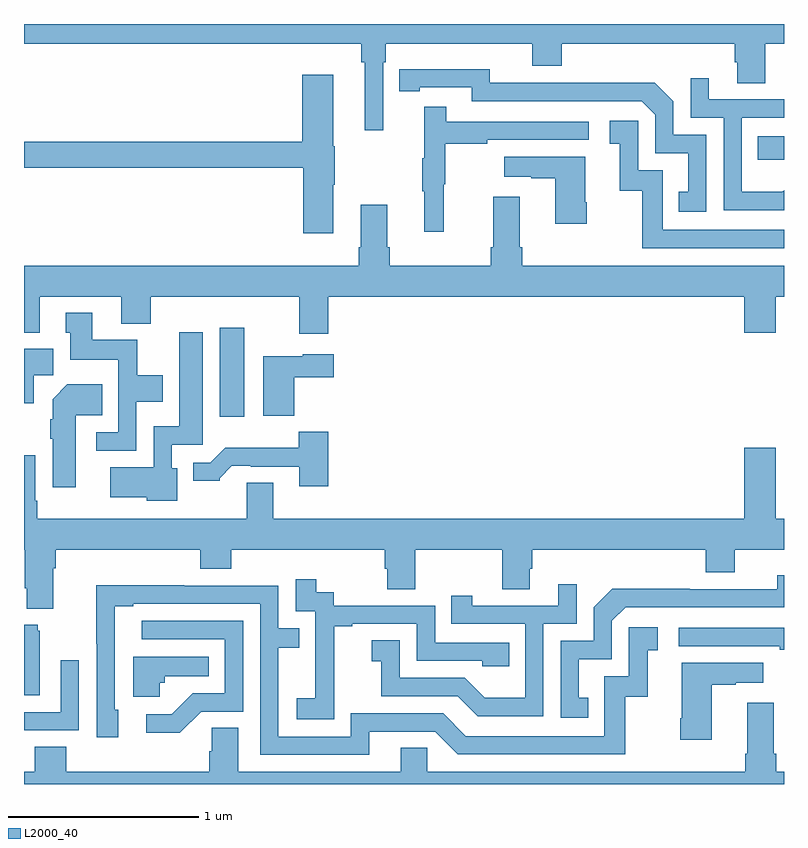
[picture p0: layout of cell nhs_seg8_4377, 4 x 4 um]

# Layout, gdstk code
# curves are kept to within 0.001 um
import gdstk
lib = gdstk.Library(unit=1e-6, precision=1e-09)
def R(c, l, rs):  # rectangles x0, y0, x1, y1
    for r in rs: c.add(gdstk.rectangle(r[:2], r[2:], *l))
def P(c, l, *ps):  # polygons
    for p in ps: c.add(gdstk.Polygon(p, *l))
L2000_40 = (2000, 40)

nhs_seg8_4377 = lib.new_cell('nhs_seg8_4377')
R(nhs_seg8_4377, L2000_40, [(378.029,1151.832,378.16,1152.301), (380.863,1153.185,381,1153.308)])
P(nhs_seg8_4377, L2000_40, [(378.891,1153.7),(378.905,1153.7),(378.905,1153.796),(379.676,1153.796),(379.676,1153.679),(379.829,1153.679),(379.829,1153.796),(380.741,1153.796),(380.741,1153.698),(380.753,1153.698),(380.753,1153.588),(380.901,1153.588),(380.901,1153.796),(381,1153.796),(381,1153.9),(377,1153.9),(377,1153.796),(378.775,1153.796),(378.775,1153.7),(378.794,1153.7),(378.794,1153.341),(378.891,1153.341)],
  [(380.592,1153.317),(380.418,1153.317),(380.418,1153.494),(380.32,1153.592),(379.912,1153.592),(379.912,1153.59),(379.452,1153.59),(379.452,1153.663),(378.976,1153.662),(378.976,1153.546),(379.084,1153.546),(379.084,1153.566),(379.356,1153.566),(379.356,1153.494),(380.25,1153.494),(380.322,1153.422),(380.322,1153.221),(380.495,1153.221),(380.495,1153.017),(380.446,1153.017),(380.446,1152.912),(380.592,1152.912)],
  [(378.628,1153.055),(378.636,1153.055),(378.636,1153.257),(378.628,1153.257),(378.628,1153.633),(378.464,1153.633),(378.464,1153.28),(377,1153.28),(377,1153.144),(378.47,1153.144),(378.47,1152.798),(378.628,1152.798)],
  [(381,1153.026),(380.992,1153.018),(380.778,1153.018),(380.778,1153.407),(381,1153.407),(381,1153.503),(380.605,1153.503),(380.605,1153.615),(380.508,1153.615),(380.508,1153.407),(380.682,1153.407),(380.682,1152.921),(381,1152.921)],
  [(379.208,1153.056),(379.216,1153.056),(379.216,1153.27),(379.439,1153.27),(379.439,1153.29),(379.972,1153.29),(379.972,1153.386),(379.223,1153.386),(379.223,1153.465),(379.106,1153.465),(379.106,1153.193),(379.095,1153.193),(379.095,1153.019),(379.106,1153.019),(379.106,1152.807),(379.208,1152.807)],
  [(381,1152.816),(380.361,1152.816),(380.361,1153.131),(380.232,1153.131),(380.232,1153.39),(380.082,1153.39),(380.082,1153.269),(380.135,1153.269),(380.135,1153.023),(380.253,1153.023),(380.253,1152.72),(381,1152.72)],
  [(379.962,1152.961),(379.954,1152.961),(379.954,1153.201),(379.527,1153.201),(379.527,1153.097),(379.67,1153.097),(379.67,1153.087),(379.796,1153.087),(379.796,1152.849),(379.962,1152.849)],
  [(378.602,1152.464),(380.792,1152.464),(380.792,1152.276),(380.956,1152.276),(380.956,1152.464),(381,1152.464),(381,1152.628),(379.622,1152.628),(379.622,1152.724),(379.609,1152.724),(379.609,1152.991),(379.469,1152.991),(379.469,1152.724),(379.457,1152.724),(379.457,1152.628),(378.926,1152.628),(378.926,1152.724),(378.913,1152.724),(378.913,1152.949),(378.773,1152.949),(378.773,1152.724),(378.761,1152.724),(378.761,1152.628),(377,1152.628),(377,1152.275),(377.083,1152.275),(377.083,1152.464),(377.513,1152.464),(377.513,1152.323),(377.666,1152.323),(377.666,1152.464),(378.449,1152.464),(378.449,1152.27),(378.602,1152.27)],
  [(377.592,1151.912),(377.731,1151.912),(377.731,1152.052),(377.595,1152.052),(377.595,1152.238),(377.359,1152.238),(377.359,1152.379),(377.219,1152.379),(377.219,1152.276),(377.243,1152.276),(377.243,1152.134),(377.496,1152.134),(377.496,1151.751),(377.379,1151.751),(377.379,1151.655),(377.592,1151.655)],
  [(377.806,1151.562),(377.778,1151.562),(377.778,1151.685),(377.941,1151.685),(377.941,1152.277),(377.816,1152.277),(377.816,1151.782),(377.682,1151.782),(377.682,1151.566),(377.454,1151.566),(377.454,1151.408),(377.646,1151.408),(377.646,1151.39),(377.806,1151.39)],
  [(377.05,1152.052),(377.155,1152.052),(377.155,1152.19),(377,1152.19),(377,1151.904),(377.05,1151.904)],
  [(378.422,1152.041),(378.631,1152.041),(378.631,1152.163),(378.468,1152.163),(378.468,1152.151),(378.26,1152.151),(378.26,1151.837),(378.422,1151.837)],
  [(377.272,1151.84),(377.411,1151.84),(377.411,1152.004),(377.228,1152.004),(377.15,1151.926),(377.15,1151.819),(377.138,1151.819),(377.138,1151.716),(377.15,1151.716),(377.15,1151.463),(377.272,1151.463)],
  [(378.602,1151.755),(378.447,1151.755),(378.447,1151.671),(378.058,1151.671),(377.979,1151.592),(377.891,1151.592),(377.891,1151.495),(378.03,1151.495),(378.03,1151.51),(378.094,1151.574),(378.193,1151.574),(378.193,1151.571),(378.449,1151.571),(378.449,1151.466),(378.602,1151.466)],
  [(377.155,1151.036),(377.168,1151.036),(377.168,1151.132),(377.927,1151.132),(377.927,1151.033),(378.092,1151.033),(378.092,1151.132),(378.899,1151.132),(378.899,1151.034),(378.911,1151.034),(378.911,1150.924),(379.059,1150.924),(379.059,1151.132),(379.516,1151.132),(379.516,1150.924),(379.663,1150.924),(379.663,1151.034),(379.676,1151.034),(379.676,1151.132),(380.588,1151.132),(380.588,1151.015),(380.74,1151.015),(380.74,1151.132),(381,1151.132),(381,1151.296),(380.956,1151.296),(380.956,1151.671),(380.792,1151.671),(380.792,1151.296),(378.313,1151.296),(378.313,1151.486),(378.173,1151.486),(378.173,1151.296),(377.071,1151.296),(377.071,1151.392),(377.058,1151.392),(377.058,1151.629),(377,1151.629),(377,1151.132),(377.003,1151.132),(377.003,1150.93),(377.015,1150.93),(377.015,1150.823),(377.155,1150.823)],
  [(379.97,1150.353),(379.921,1150.353),(379.921,1150.557),(380.094,1150.557),(380.094,1150.758),(380.166,1150.83),(381,1150.83),(381,1150.999),(380.964,1150.999),(380.964,1150.926),(380.504,1150.926),(380.504,1150.928),(380.096,1150.928),(379.998,1150.83),(379.998,1150.653),(379.824,1150.653),(379.824,1150.248),(379.97,1150.248)],
  [(378.633,1150.447),(378.632,1150.447),(378.632,1150.731),(378.727,1150.731),(378.727,1150.743),(379.068,1150.743),(379.068,1150.548),(379.413,1150.548),(379.413,1150.521),(379.553,1150.521),(379.553,1150.644),(379.164,1150.644),(379.164,1150.839),(378.63,1150.839),(378.63,1150.908),(378.538,1150.908),(378.538,1150.978),(378.429,1150.978),(378.429,1150.809),(378.534,1150.809),(378.534,1150.58),(378.533,1150.58),(378.533,1150.351),(378.435,1150.351),(378.435,1150.241),(378.633,1150.241)],
  [(379.734,1150.743),(379.908,1150.743),(379.908,1150.951),(379.811,1150.951),(379.811,1150.839),(379.36,1150.839),(379.36,1150.891),(379.249,1150.891),(379.249,1150.743),(379.638,1150.743),(379.638,1150.354),(379.424,1150.354),(379.32,1150.458),(378.978,1150.458),(378.978,1150.657),(378.831,1150.657),(378.831,1150.547),(378.88,1150.547),(378.88,1150.362),(379.283,1150.362),(379.388,1150.257),(379.734,1150.257)],
  [(378.817,1150.176),(379.164,1150.176),(379.284,1150.056),(380.164,1150.056),(380.164,1150.359),(380.282,1150.359),(380.282,1150.605),(380.335,1150.605),(380.335,1150.726),(380.184,1150.726),(380.184,1150.467),(380.055,1150.467),(380.055,1150.152),(379.326,1150.152),(379.206,1150.272),(378.72,1150.272),(378.72,1150.149),(378.339,1150.149),(378.339,1150.618),(378.449,1150.618),(378.449,1150.719),(378.339,1150.719),(378.339,1150.944),(377.843,1150.944),(377.843,1150.946),(377.38,1150.946),(377.38,1150.639),(377.382,1150.639),(377.382,1150.146),(377.497,1150.146),(377.497,1150.29),(377.478,1150.29),(377.478,1150.836),(377.575,1150.836),(377.575,1150.848),(378.243,1150.848),(378.243,1150.053),(378.817,1150.053)],
  [(377.934,1150.281),(378.153,1150.281),(378.153,1150.758),(377.619,1150.758),(377.619,1150.662),(378.057,1150.662),(378.057,1150.377),(377.888,1150.377),(377.777,1150.266),(377.643,1150.266),(377.643,1150.169),(377.821,1150.169)],
  [(377.083,1150.707),(377.072,1150.707),(377.072,1150.738),(377,1150.738),(377,1150.367),(377.083,1150.367)],
  [(381,1150.722),(380.445,1150.722),(380.445,1150.626),(380.977,1150.626),(380.977,1150.606),(381,1150.606)],
  [(377.715,1150.434),(377.742,1150.434),(377.742,1150.466),(377.972,1150.466),(377.972,1150.57),(377.576,1150.57),(377.576,1150.358),(377.715,1150.358)],
  [(377.289,1150.552),(377.193,1150.552),(377.193,1150.278),(377,1150.278),(377,1150.182),(377.289,1150.182)],
  [(380.62,1150.423),(380.747,1150.423),(380.747,1150.433),(380.89,1150.433),(380.89,1150.537),(380.462,1150.537),(380.462,1150.246),(380.455,1150.246),(380.455,1150.134),(380.62,1150.134)],
  [(378.983,1150.091),(378.983,1149.964),(378.127,1149.964),(378.127,1150.196),(377.988,1150.196),(377.988,1150.073),(377.975,1150.073),(377.975,1149.964),(377.222,1149.964),(377.222,1150.097),(377.057,1150.097),(377.057,1149.964),(377,1149.964),(377,1149.9),(381,1149.9),(381,1149.964),(380.96,1149.964),(380.96,1150.06),(380.947,1150.06),(380.947,1150.327),(380.807,1150.327),(380.807,1150.06),(380.795,1150.06),(380.795,1149.964),(379.122,1149.964),(379.122,1150.091)])

lib.write_gds('nhs_seg8_4377.gds')
